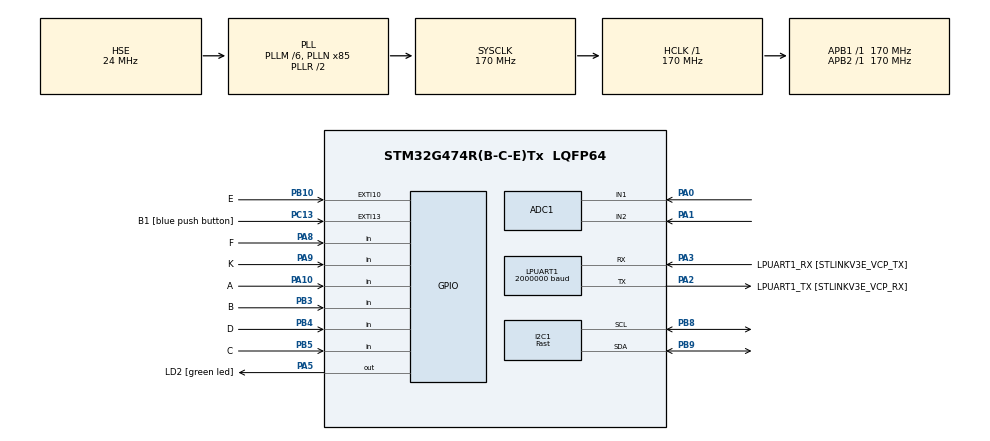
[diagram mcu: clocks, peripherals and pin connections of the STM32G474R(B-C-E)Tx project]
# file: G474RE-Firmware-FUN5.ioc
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ADC1.Channel-0\#ChannelRegularConversion=ADC_CHANNEL_1
ADC1.Channel-1\#ChannelRegularConversion=ADC_CHANNEL_2
ADC1.ContinuousConvMode=ENABLE
ADC1.DMAContinuousRequests=ENABLE
ADC1.NbrOfConversion=2
ADC1.NbrOfConversionFlag=1
ADC1.OffsetNumber-0\#ChannelRegularConversion=ADC_OFFSET_NONE
ADC1.OffsetNumber-1\#ChannelRegularConversion=ADC_OFFSET_NONE
ADC1.Rank-0\#ChannelRegularConversion=1
ADC1.Rank-1\#ChannelRegularConversion=2
ADC1.SamplingTime-0\#ChannelRegularConversion=ADC_SAMPLETIME_640CYCLES_5
ADC1.SamplingTime-1\#ChannelRegularConversion=ADC_SAMPLETIME_640CYCLES_5
ADC1.master=1
Dma.ADC1.2.Direction=DMA_PERIPH_TO_MEMORY
Dma.ADC1.2.EventEnable=DISABLE
Dma.ADC1.2.Instance=DMA1_Channel3
Dma.ADC1.2.MemDataAlignment=DMA_MDATAALIGN_HALFWORD
Dma.ADC1.2.MemInc=DMA_MINC_ENABLE
Dma.ADC1.2.Mode=DMA_CIRCULAR
Dma.ADC1.2.PeriphDataAlignment=DMA_PDATAALIGN_HALFWORD
Dma.ADC1.2.PeriphInc=DMA_PINC_DISABLE
Dma.ADC1.2.Polarity=HAL_DMAMUX_REQ_GEN_RISING
Dma.ADC1.2.Priority=DMA_PRIORITY_LOW
Dma.ADC1.2.RequestNumber=1
Dma.ADC1.2.SignalID=NONE
Dma.ADC1.2.SyncEnable=DISABLE
Dma.ADC1.2.SyncPolarity=HAL_DMAMUX_SYNC_NO_EVENT
Dma.ADC1.2.SyncRequestNumber=1
Dma.ADC1.2.SyncSignalID=NONE
Dma.LPUART1_RX.0.Direction=DMA_PERIPH_TO_MEMORY
Dma.LPUART1_RX.0.EventEnable=DISABLE
Dma.LPUART1_RX.0.Instance=DMA1_Channel1
Dma.LPUART1_RX.0.MemDataAlignment=DMA_MDATAALIGN_BYTE
Dma.LPUART1_RX.0.MemInc=DMA_MINC_ENABLE
Dma.LPUART1_RX.0.Mode=DMA_CIRCULAR
Dma.LPUART1_RX.0.PeriphDataAlignment=DMA_PDATAALIGN_BYTE
Dma.LPUART1_RX.0.PeriphInc=DMA_PINC_DISABLE
Dma.LPUART1_RX.0.Polarity=HAL_DMAMUX_REQ_GEN_RISING
Dma.LPUART1_RX.0.Priority=DMA_PRIORITY_VERY_HIGH
Dma.LPUART1_RX.0.RequestNumber=1
Dma.LPUART1_RX.0.SignalID=NONE
Dma.LPUART1_RX.0.SyncEnable=DISABLE
Dma.LPUART1_RX.0.SyncPolarity=HAL_DMAMUX_SYNC_NO_EVENT
Dma.LPUART1_RX.0.SyncRequestNumber=1
Dma.LPUART1_RX.0.SyncSignalID=NONE
Dma.LPUART1_TX.1.Direction=DMA_MEMORY_TO_PERIPH
Dma.LPUART1_TX.1.EventEnable=DISABLE
Dma.LPUART1_TX.1.Instance=DMA1_Channel2
Dma.LPUART1_TX.1.MemDataAlignment=DMA_MDATAALIGN_BYTE
Dma.LPUART1_TX.1.MemInc=DMA_MINC_ENABLE
Dma.LPUART1_TX.1.Mode=DMA_NORMAL
Dma.LPUART1_TX.1.PeriphDataAlignment=DMA_PDATAALIGN_BYTE
Dma.LPUART1_TX.1.PeriphInc=DMA_PINC_DISABLE
Dma.LPUART1_TX.1.Polarity=HAL_DMAMUX_REQ_GEN_RISING
Dma.LPUART1_TX.1.Priority=DMA_PRIORITY_VERY_HIGH
Dma.LPUART1_TX.1.RequestNumber=1
Dma.LPUART1_TX.1.SignalID=NONE
Dma.LPUART1_TX.1.SyncEnable=DISABLE
Dma.LPUART1_TX.1.SyncPolarity=HAL_DMAMUX_SYNC_NO_EVENT
Dma.LPUART1_TX.1.SyncRequestNumber=1
Dma.LPUART1_TX.1.SyncSignalID=NONE
Dma.Request0=LPUART1_RX
Dma.Request1=LPUART1_TX
Dma.Request2=ADC1
FREERTOS.Tasks01=defaultTask,24,3000,StartDefaultTask,Default,NULL,Static,defaultTaskBuffer,defaultTaskControlBlock
FREERTOS.configENABLE_FPU=1
I2C1.I2C_Speed_Mode=I2C_Fast
I2C1.Timing=0x40621236
IWDG.Reload=2499
LPUART1.BaudRate=2000000
Mcu.Family=STM32G4
Mcu.Name=STM32G474R(B-C-E)Tx
Mcu.Package=LQFP64
NVIC.ADC1_2_IRQn=true\:5\:0\:false\:false\:true\:true\:true\:true\:true
NVIC.DMA1_Channel1_IRQn=true\:5\:0\:false\:false\:true\:true\:false\:true\:true
NVIC.DMA1_Channel2_IRQn=true\:5\:0\:false\:false\:true\:true\:false\:true\:true
NVIC.DMA1_Channel3_IRQn=true\:5\:0\:false\:false\:true\:true\:false\:true\:true
NVIC.EXTI15_10_IRQn=true\:5\:0\:false\:false\:true\:true\:true\:true\:true
NVIC.LPUART1_IRQn=true\:5\:0\:false\:false\:true\:true\:true\:true\:true
NVIC.PriorityGroup=NVIC_PRIORITYGROUP_4
NVIC.TIM1_UP_TIM16_IRQn=true\:15\:0\:false\:false\:true\:false\:false\:true\:true
NVIC.TimeBase=TIM1_UP_TIM16_IRQn
NVIC.TimeBaseIP=TIM1
PA0.Mode=IN1-Single-Ended
PA0.Signal=ADC1_IN1
PA1.Mode=IN2-Single-Ended
PA1.Signal=ADC1_IN2
PA10.GPIO_Label=A
PA10.Signal=GPIO_Input
PA13.GPIO_Label=T_SWDIO
PA13.Signal=SYS_JTMS-SWDIO
PA14.GPIO_Label=T_SWCLK
PA14.Signal=SYS_JTCK-SWCLK
PA2.GPIO_Label=LPUART1_TX [STLINKV3E_VCP_RX]
PA2.Mode=Asynchronous
PA2.Signal=LPUART1_TX
PA3.GPIO_Label=LPUART1_RX [STLINKV3E_VCP_TX]
PA3.Mode=Asynchronous
PA3.Signal=LPUART1_RX
PA5.GPIO_Label=LD2 [green led]
PA5.GPIO_Speed=GPIO_SPEED_FREQ_LOW
PA5.Signal=GPIO_Output
PA8.GPIO_Label=F
PA8.Signal=GPIO_Input
PA9.GPIO_Label=K
PA9.Signal=GPIO_Input
PB10.GPIO_Label=E
PB10.Signal=GPXTI10
PB3.GPIO_Label=B
PB3.Signal=GPIO_Input
PB4.GPIO_Label=D
PB4.Signal=GPIO_Input
PB5.GPIO_Label=C
PB5.Signal=GPIO_Input
PB8-BOOT0.Mode=I2C
PB8-BOOT0.Signal=I2C1_SCL
PB9.Mode=I2C
PB9.Signal=I2C1_SDA
PC13.GPIO_Label=B1 [blue push button]
PC13.Signal=GPXTI13
PC14-OSC32_IN.GPIO_Label=RCC_OSC32_IN
PC14-OSC32_IN.Signal=RCC_OSC32_IN
PC15-OSC32_OUT.GPIO_Label=RCC_OSC32_OUT
PC15-OSC32_OUT.Signal=RCC_OSC32_OUT
PF0-OSC_IN.GPIO_Label=RCC_OSC_IN
PF0-OSC_IN.Mode=HSE-External-Oscillator
PF0-OSC_IN.Signal=RCC_OSC_IN
PF1-OSC_OUT.GPIO_Label=RCC_OSC_OUT
PF1-OSC_OUT.Mode=HSE-External-Oscillator
PF1-OSC_OUT.Signal=RCC_OSC_OUT
ProjectManager.HeapSize=0x200
ProjectManager.StackSize=0x400
ProjectManager.TargetToolchain=STM32CubeIDE
RCC.ADC12Freq_Value=170000000
RCC.ADC345Freq_Value=170000000
RCC.AHBFreq_Value=170000000
RCC.APB1Freq_Value=170000000
RCC.APB1TimFreq_Value=170000000
RCC.APB2Freq_Value=170000000
RCC.APB2TimFreq_Value=170000000
RCC.CortexFreq_Value=170000000
RCC.EXTERNAL_CLOCK_VALUE=12288000
RCC.HCLKFreq_Value=170000000
RCC.HSE_VALUE=24000000
RCC.HSI48_VALUE=48000000
RCC.HSI_VALUE=16000000
RCC.LSE_VALUE=32768
RCC.PLLM=RCC_PLLM_DIV6
RCC.PLLN=85
RCC.PLLSourceVirtual=RCC_PLLSOURCE_HSE
RCC.RTCClockSelection=RCC_RTCCLKSOURCE_LSE
RCC.SYSCLKFreq_VALUE=170000000
RCC.SYSCLKSource=RCC_SYSCLKSOURCE_PLLCLK
RCC.USBFreq_Value=170000000
RCC.VCOOutputFreq_Value=340000000
VP_FREERTOS_VS_CMSIS_V2.Mode=CMSIS_V2
VP_IWDG_VS_IWDG.Mode=IWDG_Activate
VP_SYS_VS_DBSignals.Mode=DisableDeadBatterySignals
VP_SYS_VS_tim1.Mode=TIM1
board=NUCLEO-G474RE

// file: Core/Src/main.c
/* USER CODE BEGIN Header */
/**
  ******************************************************************************
  * @file           : main.c
  * @brief          : Main program body
  ******************************************************************************
  * @attention
  *
  * Copyright (c) 2024 STMicroelectronics.
  * All rights reserved.
  *
  * This software is licensed under terms that can be found in the LICENSE file
  * in the root directory of this software component.
  * If no LICENSE file comes with this software, it is provided AS-IS.
  *
  ******************************************************************************
  */
/* USER CODE END Header */
#include "main.h"
#include "cmsis_os.h"
#include "adc.h"
#include "dma.h"
#include "i2c.h"
#include "iwdg.h"
#include "usart.h"
#include "gpio.h"

void SystemClock_Config(void);
void MX_FREERTOS_Init(void);

int main(void)
{

  /* MCU Configuration--------------------------------------------------------*/

  /* Reset of all peripherals, Initializes the Flash interface and the Systick. */
  HAL_Init();

  /* Configure the system clock */
  SystemClock_Config();

  /* Initialize all configured peripherals */
  MX_GPIO_Init();
  MX_DMA_Init();
  MX_I2C1_Init();
  MX_LPUART1_UART_Init();
  MX_IWDG_Init();
  MX_ADC1_Init();

  /* Init scheduler */
  osKernelInitialize();

  /* Call init function for freertos objects (in cmsis_os2.c) */
  MX_FREERTOS_Init();

  /* Start scheduler */
  osKernelStart();

  /* We should never get here as control is now taken by the scheduler */

  /* Infinite loop */
  while (1)
  {

  }
}

void SystemClock_Config(void)
{
  RCC_OscInitTypeDef RCC_OscInitStruct = {0};
  RCC_ClkInitTypeDef RCC_ClkInitStruct = {0};

  /** Configure the main internal regulator output voltage
  */
  HAL_PWREx_ControlVoltageScaling(PWR_REGULATOR_VOLTAGE_SCALE1_BOOST);

  /** Initializes the RCC Oscillators according to the specified parameters
  * in the RCC_OscInitTypeDef structure.
  */
  RCC_OscInitStruct.OscillatorType = RCC_OSCILLATORTYPE_LSI|RCC_OSCILLATORTYPE_HSE;
  RCC_OscInitStruct.HSEState = RCC_HSE_ON;
  RCC_OscInitStruct.LSIState = RCC_LSI_ON;
  RCC_OscInitStruct.PLL.PLLState = RCC_PLL_ON;
  RCC_OscInitStruct.PLL.PLLSource = RCC_PLLSOURCE_HSE;
  RCC_OscInitStruct.PLL.PLLM = RCC_PLLM_DIV6;
  RCC_OscInitStruct.PLL.PLLN = 85;
  RCC_OscInitStruct.PLL.PLLP = RCC_PLLP_DIV2;
  RCC_OscInitStruct.PLL.PLLQ = RCC_PLLQ_DIV2;
  RCC_OscInitStruct.PLL.PLLR = RCC_PLLR_DIV2;
  if (HAL_RCC_OscConfig(&RCC_OscInitStruct) != HAL_OK)
  {
    Error_Handler();
  }

  /** Initializes the CPU, AHB and APB buses clocks
  */
  RCC_ClkInitStruct.ClockType = RCC_CLOCKTYPE_HCLK|RCC_CLOCKTYPE_SYSCLK
                              |RCC_CLOCKTYPE_PCLK1|RCC_CLOCKTYPE_PCLK2;
  RCC_ClkInitStruct.SYSCLKSource = RCC_SYSCLKSOURCE_PLLCLK;
  RCC_ClkInitStruct.AHBCLKDivider = RCC_SYSCLK_DIV1;
  RCC_ClkInitStruct.APB1CLKDivider = RCC_HCLK_DIV1;
  RCC_ClkInitStruct.APB2CLKDivider = RCC_HCLK_DIV1;

  if (HAL_RCC_ClockConfig(&RCC_ClkInitStruct, FLASH_LATENCY_4) != HAL_OK)
  {
    Error_Handler();
  }
}

void HAL_TIM_PeriodElapsedCallback(TIM_HandleTypeDef *htim)
{
  if (htim->Instance == TIM1) {
    HAL_IncTick();
  }
}

void Error_Handler(void)
{
  __disable_irq();
  while (1)
  {
  }
}

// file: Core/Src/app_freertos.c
/* USER CODE BEGIN Header */
/**
  ******************************************************************************
  * File Name          : app_freertos.c
  * Description        : Code for freertos applications
  ******************************************************************************
  * @attention
  *
  * Copyright (c) 2024 STMicroelectronics.
  * All rights reserved.
  *
  * This software is licensed under terms that can be found in the LICENSE file
  * in the root directory of this software component.
  * If no LICENSE file comes with this software, it is provided AS-IS.
  *
  ******************************************************************************
  */
/* USER CODE END Header */

#include "FreeRTOS.h"
#include "task.h"
#include "main.h"
#include "cmsis_os.h"

/* USER CODE BEGIN Includes */
#include "dma.h"
#include "i2c.h"
#include "iwdg.h"
#include "gpio.h"
#include "usart.h"
#include "adc.h"

#include <math.h>
#include <string.h>
#include <mpu6050.h>

#include <rcl/rcl.h>
#include <rcl/error_handling.h>
#include <rclc/rclc.h>
#include <rclc/executor.h>
#include <uxr/client/transport.h>
#include <rmw_microxrcedds_c/config.h>
#include <rmw_microros/rmw_microros.h>

#include <std_msgs/msg/int32.h>
#include <sensor_msgs/msg/imu.h>
#include <geometry_msgs/msg/twist.h>

#include <std_srvs/srv/trigger.h>
#include <std_srvs/srv/set_bool.h>
#include <robotic_interfaces/srv/keyboard.h>
#include <imu_interfaces/srv/imu_calibration.h>

#include <micro_ros_utilities/string_utilities.h>
/* USER CODE END Includes */

typedef StaticTask_t osStaticThreadDef_t;
/* USER CODE BEGIN PTD */
typedef struct {
	double x;
	double y;
	double z;
} offset3d_t;

typedef struct {
	double roll;
	double pitch;
	double yaw;
} rotation_t;

typedef struct {
	double Q_angle;
	double Q_bias;
	double R_measure;

	double angle;
	double bias;
	double rate;

	double P[2][2];
} KalmanFilter_t;

typedef struct {
	GPIO_PinState A;
	GPIO_PinState B;
	GPIO_PinState C;
	GPIO_PinState D;
	GPIO_PinState K;
} controller_t;
/* USER CODE END PTD */

/* USER CODE BEGIN PD */
#define GRAVITY 9.80665
#define DEG_TO_RAD M_PI / 180.0
#define RAD_TO_DEG 180.0 / M_PI

#define ADC_MAX 4095.0f
#define ADC_MIN 0.0f
#define OUTPUT_MAX 1.0f
#define OUTPUT_MIN -1.0f

#define ALPHA 0.50
#define LOW_PASS_BETA 0.9
#define HIGH_PASS_ALPHA 0.8
/* USER CODE END PD */

/* USER CODE BEGIN PM */
#define RCSOFTCHECK(fn) if (fn != RCL_RET_OK) {};
/* USER CODE END PM */

/* USER CODE BEGIN Variables */
rcl_node_t node;

rcl_publisher_t mpu6050_publisher;
sensor_msgs__msg__Imu mpu6050_msg;

rcl_publisher_t cmd_vel_publisher;
geometry_msgs__msg__Twist cmd_vel_msg;

rcl_publisher_t cmd_vell_publisher;
geometry_msgs__msg__Twist cmd_vell_msg;

rcl_service_t imu_calibration_server;
imu_interfaces__srv__ImuCalibration_Request imu_calibration_request;
imu_interfaces__srv__ImuCalibration_Response imu_calibration_response;

rcl_service_t imu_status_server;
std_srvs__srv__SetBool_Request imu_status_request;
std_srvs__srv__SetBool_Response imu_status_response;

rcl_client_t robot_controller_client;
robotic_interfaces__srv__Keyboard_Request keyboard_request;
robotic_interfaces__srv__Keyboard_Response keyboard_response;

rcl_client_t robot_controller_Ref_client;
robotic_interfaces__srv__Keyboard_Request ref_request;

rcl_client_t robot_controller_saved_client;
std_srvs__srv__Trigger_Request save_request;

MPU6050_t MPU6050;
uint16_t cc = 0;
uint16_t cs = 0;
uint16_t ct = 0;
uint16_t cq = 0;

offset3d_t accl_offset;
offset3d_t gyro_offset;

rotation_t rotation_gyro;
rotation_t rotation_accl;
rotation_t rotation_comp;
rotation_t rotation_kalm;
rotation_t rotation_real;

KalmanFilter_t kalmanX, kalmanY;
double prev_acc_roll = 0, prev_acc_pitch = 0;
double prev_gyroX = 0, prev_gyroY = 0;
bool is_calib = false;
bool on_calib = false;

uint16_t ADCBuffer[80]={0};
int ADC_Average[2] = {0};
int ADC_SumAPot[2] = {0};

controller_t joy;

int main_Mode = 0;
uint8_t state_keep_B = 0;
uint8_t B_count = 0;
uint8_t state_keep_D = 0;
uint8_t D_count = 0;
uint8_t wait = 0;
uint8_t auto_on = 0;
uint8_t state_keep_K = 0;
/* USER CODE END Variables */
/* Definitions for defaultTask */
osThreadId_t defaultTaskHandle;
uint32_t defaultTaskBuffer[ 3000 ];
osStaticThreadDef_t defaultTaskControlBlock;
const osThreadAttr_t defaultTask_attributes = {
  .name = "defaultTask",
  .stack_mem = &defaultTaskBuffer[0],
  .stack_size = sizeof(defaultTaskBuffer),
  .cb_mem = &defaultTaskControlBlock,
  .cb_size = sizeof(defaultTaskControlBlock),
  .priority = (osPriority_t) osPriorityNormal,
};

/* USER CODE BEGIN FunctionPrototypes */
bool cubemx_transport_open(struct uxrCustomTransport * transport);
bool cubemx_transport_close(struct uxrCustomTransport * transport);
size_t cubemx_transport_write(struct uxrCustomTransport* transport, const uint8_t * buf, size_t len, uint8_t * err);
size_t cubemx_transport_read(struct uxrCustomTransport* transport, uint8_t* buf, size_t len, int timeout, uint8_t* err);

void * microros_allocate(size_t size, void * state);
void microros_deallocate(void * pointer, void * state);
void * microros_reallocate(void * pointer, size_t size, void * state);
void * microros_zero_allocate(size_t number_of_elements, size_t size_of_element, void * state);

double lowPassFilter(float previousFiltered, float raw, float beta);
double highPassFilter(float currentFiltered, float raw, float lastRaw, float alpha);

void calculate_gyro_angles(double Ax, double Ay, double Az, double Gx, double Gy, double Gz, float DT);
void calculate_accl_angles(double Ax, double Ay, double Az, double Gx, double Gy, double Gz, float DT);
void calculate_comp_angles(double Ax, double Ay, double Az, double Gx, double Gy, double Gz, float DT);
void calculate_kalm_angles(double Ax, double Ay, double Az, double Gx, double Gy, double Gz, float DT);

void Kalman_Init(KalmanFilter_t* kf);
double Kalman_Angle(KalmanFilter_t* kf, double new_angle, double new_rate, float DT);

void ADC_Averaged();
void Read_Buttons();
float map_adc_to_output(int adc_value);

double lowPassFilter(float previousFiltered, float raw, float beta) {
    return beta * previousFiltered + (1.0 - beta) * raw;
}
double highPassFilter(float currentFiltered, float raw, float lastRaw, float alpha) {
    return alpha * (currentFiltered + raw - lastRaw);
}

void calculate_gyro_angles(double Ax, double Ay, double Az, double Gx, double Gy, double Gz, float DT) {

	rotation_gyro.roll += (Gx * RAD_TO_DEG) * DT;
	rotation_gyro.pitch += (Gy * RAD_TO_DEG) * DT;
	rotation_gyro.yaw += (Gz * RAD_TO_DEG) * DT;

    if (rotation_gyro.yaw > 180.0){
    	rotation_gyro.yaw -= 360.0;
    }
    else if (rotation_gyro.yaw < -180.0){
    	rotation_gyro.yaw += 360.0;
    }
}

void calculate_accl_angles(double Ax, double Ay, double Az, double Gx, double Gy, double Gz, float DT) {

    double roll_acc = atan2(Ay, sqrt(Ax * Ax + Az * Az)) * RAD_TO_DEG;
    double pitch_acc = atan2(-Ax, sqrt(Ay * Ay + Az * Az)) * RAD_TO_DEG;
    double yaw_acc = (Gz * RAD_TO_DEG) * DT;

    rotation_accl.roll = roll_acc;
    rotation_accl.pitch = pitch_acc;
    rotation_accl.yaw += yaw_acc;

    if (rotation_accl.yaw > 180.0){
    	rotation_accl.yaw -= 360.0;
    }
    else if (rotation_accl.yaw < -180.0){
    	rotation_accl.yaw += 360.0;
    }
}

void calculate_comp_angles(double Ax, double Ay, double Az, double Gx, double Gy, double Gz, float DT){
    double roll_acc = atan(Ay / sqrt(Ax * Ax + Az * Az)) * RAD_TO_DEG;
    double pitch_acc = atan2(-Ax, sqrt(Ay * Ay + Az * Az)) * RAD_TO_DEG;

    double roll_acc_fill = lowPassFilter(prev_acc_roll, roll_acc, LOW_PASS_BETA);
    double pitch_acc_fill = lowPassFilter(prev_acc_pitch, pitch_acc, LOW_PASS_BETA);

    prev_acc_roll = roll_acc_fill;
    prev_acc_pitch = pitch_acc_fill;

    double gyro_roll = rotation_comp.roll + Gx * DT;
    double gyro_pitch = rotation_comp.pitch + Gy * DT;

    double gyro_roll_fill = highPassFilter(rotation_comp.roll, gyro_roll, prev_gyroX, HIGH_PASS_ALPHA);
    double gyro_pitch_fill = highPassFilter(rotation_comp.pitch, gyro_pitch, prev_gyroY, HIGH_PASS_ALPHA);

    prev_gyroX = Gx;
    prev_gyroY = Gy;

    rotation_comp.roll = ALPHA * gyro_roll_fill + (1 - ALPHA) * roll_acc_fill;
    rotation_comp.pitch = ALPHA * gyro_pitch_fill + (1 - ALPHA) * pitch_acc_fill;
    rotation_comp.yaw += (Gz * RAD_TO_DEG) * DT;

    if (rotation_comp.yaw > 180.0){
    	rotation_comp.yaw -= 360.0;
    }
    else if (rotation_comp.yaw < -180.0){
    	rotation_comp.yaw += 360.0;
    }

}
void calculate_kalm_angles(double Ax, double Ay, double Az, double Gx, double Gy, double Gz, float DT) {

	double angleX = atan(Ay / sqrt(Ax * Ax + Az * Az)) * RAD_TO_DEG;
	double angleY = atan2(-Ax, sqrt(Ay * Ay + Az * Az)) * RAD_TO_DEG;

	double ratedX = Gx;
	double ratedY = Gy;

	rotation_kalm.roll = Kalman_Angle(&kalmanX, angleX, ratedX, DT);
	rotation_kalm.pitch = Kalman_Angle(&kalmanY, angleY, ratedY, DT);
	rotation_kalm.yaw += (Gz * RAD_TO_DEG) * DT;

    if (rotation_kalm.yaw > 180.0){
    	rotation_kalm.yaw -= 360.0;
    }
    else if (rotation_kalm.yaw < -180.0){
    	rotation_kalm.yaw += 360.0;
    }
}

void Kalman_Init(KalmanFilter_t* kf) {
    kf->Q_angle = 0.001f;
    kf->Q_bias  = 0.003f;
    kf->R_measure = 0.03f;

    kf->angle = 0.0f;
    kf->bias = 0.0f;

    kf->P[0][0] = 0.0f;
    kf->P[0][1] = 0.0f;
    kf->P[1][0] = 0.0f;
    kf->P[1][1] = 0.0f;
}

double Kalman_Angle(KalmanFilter_t* kf, double new_angle, double new_rate, float DT){

    kf->rate = new_rate - kf->bias;
    kf->angle += DT * kf->rate;

    kf->P[0][0] += DT * (DT * kf->P[1][1] - kf->P[0][1] - kf->P[1][0] + kf->Q_angle);
    kf->P[0][1] -= DT * kf->P[1][1];
    kf->P[1][0] -= DT * kf->P[1][1];
    kf->P[1][1] += kf->Q_bias * DT;

    double S = kf->P[0][0] + kf->R_measure;
    double K[2];
    K[0] = kf->P[0][0] / S;
    K[1] = kf->P[1][0] / S;

    double y = new_angle - kf->angle;
    kf->angle += K[0] * y;
    kf->bias += K[1] * y;

    double P00_temp = kf->P[0][0];
    double P01_temp = kf->P[0][1];

    kf->P[0][0] -= K[0] * P00_temp;
    kf->P[0][1] -= K[0] * P01_temp;
    kf->P[1][0] -= K[1] * P00_temp;
    kf->P[1][1] -= K[1] * P01_temp;

    return kf->angle;
}

float map_adc_to_output(int adc_value) {
	float mapped = ((adc_value - ADC_MIN) * (OUTPUT_MAX - OUTPUT_MIN) / (ADC_MAX - ADC_MIN)) + OUTPUT_MIN;
	float output = (fabs(mapped) < 0.03) ? 0.0 : mapped;
	return output;
}

void timer_callback(rcl_timer_t * timer, int64_t last_call_time)
{
	if (timer != NULL) {
		if (main_Mode == 1)
		{
			uint32_t i2cError = HAL_I2C_GetError(&hi2c1);
			if (i2cError == HAL_I2C_ERROR_NONE){
				if (is_calib || on_calib){
					MPU6050_Read_All(&hi2c1, &MPU6050);

					double Ax = (GRAVITY * MPU6050.Ax) - accl_offset.x;
					double Ay = (GRAVITY * MPU6050.Ay) - accl_offset.y;
					double Az = (GRAVITY * MPU6050.Az) - accl_offset.z;

					double Gx = (DEG_TO_RAD * MPU6050.Gx) - gyro_offset.x;
					double Gy = (DEG_TO_RAD * MPU6050.Gy) - gyro_offset.y;
					double Gz = (DEG_TO_RAD * MPU6050.Gz) - gyro_offset.z;

					mpu6050_msg.header.stamp.sec = rmw_uros_epoch_millis() / 1000;
					mpu6050_msg.header.stamp.nanosec = rmw_uros_epoch_nanos();

					mpu6050_msg.linear_acceleration.x = Ax;
					mpu6050_msg.linear_acceleration.y = Ay;
					mpu6050_msg.linear_acceleration.z = Az;

					mpu6050_msg.angular_velocity.x = Gx;
					mpu6050_msg.angular_velocity.y = Gy;
					mpu6050_msg.angular_velocity.z = Gz;

					rcl_ret_t ret = rcl_publish(&mpu6050_publisher, &mpu6050_msg, NULL);
					if (ret != RCL_RET_OK) printf("Error publishing (line %d)\n", __LINE__);

					rotation_real.roll = MPU6050.KalmanAngleX;
					rotation_real.pitch = MPU6050.KalmanAngleY;

					calculate_gyro_angles(Ax/GRAVITY, Ay/GRAVITY, Az/GRAVITY, Gx, Gy, Gz, 0.01);
					calculate_accl_angles(Ax/GRAVITY, Ay/GRAVITY, Az/GRAVITY, Gx, Gy, Gz, 0.01);
					calculate_comp_angles(Ax/GRAVITY, Ay/GRAVITY, Az/GRAVITY, Gx, Gy, Gz, 0.01);
					calculate_kalm_angles(Ax/GRAVITY, Ay/GRAVITY, Az/GRAVITY, Gx, Gy, Gz, 0.01);

					cmd_vel_msg.linear.x = rotation_comp.roll * DEG_TO_RAD;
					cmd_vel_msg.angular.z = -(rotation_comp.pitch * DEG_TO_RAD);

					rcl_ret_t rett = rcl_publish(&cmd_vel_publisher, &cmd_vel_msg, NULL);
					if (rett != RCL_RET_OK) printf("Error publishing (line %d)\n", __LINE__);

				}
			}
			else
			{
				static uint32_t timestamp = 0;
				if (timestamp <= HAL_GetTick()){
					timestamp = HAL_GetTick() + 1000;
					HAL_GPIO_TogglePin(LD2_GPIO_Port, LD2_Pin);
					HAL_I2C_DeInit(&hi2c1);
					HAL_I2C_Init(&hi2c1);
					MPU6050_Init(&hi2c1);
				}
			}
		}

		else if (main_Mode == 0)
		{
			if (joy.B == GPIO_PIN_RESET && state_keep_B == 0)
			{
				wait++;
				state_keep_B = 1;
				state_keep_K = 0;
			}

			if (joy.B == GPIO_PIN_SET && state_keep_B == 1 && B_count == 0 && wait > 0)
			{
				keyboard_request.mode.data = "TOB";

				int64_t sq_num;
				rcl_ret_t ret = rcl_send_request(&robot_controller_client, &keyboard_request, &sq_num);

				if (ret != RCL_RET_OK) cq++;

				B_count = 1;
				D_count = 0;
				state_keep_B = 0;
				state_keep_K = 0;
			}

			else if (joy.B == GPIO_PIN_SET && state_keep_B == 1 && B_count == 1 && wait >= 2)
			{
				keyboard_request.mode.data = "AUT";

				int64_t sq_num;
				rcl_ret_t ret = rcl_send_request(&robot_controller_client, &keyboard_request, &sq_num);

				if (ret != RCL_RET_OK) cq++;

				B_count = 0;
				state_keep_B = 0;
				state_keep_K = 0;
			}

			if (joy.D == GPIO_PIN_RESET)
			{
				wait++;
				state_keep_D  = 1;
				state_keep_K = 0;
			}

			if (joy.D == GPIO_PIN_SET && state_keep_D == 1 && B_count == 1 && D_count == 0 && wait > 2)
			{
				keyboard_request.mode.data = "TOE";

				int64_t sq_numI;
				rcl_ret_t ret = rcl_send_request(&robot_controller_client, &keyboard_request, &sq_numI);
				if (ret != RCL_RET_OK) cq++;

				int64_t sq_numII;
				rcl_ret_t rett = rcl_send_request(&robot_controller_Ref_client, &keyboard_request, &sq_numII);
				if (rett != RCL_RET_OK) cq++;

				D_count = 1;
				state_keep_D = 0;
				state_keep_K = 0;
			}

			else if (joy.D == GPIO_PIN_SET && state_keep_D == 1 && B_count == 1 && D_count == 1 && wait > 2)
			{
				keyboard_request.mode.data = "TOB";

				int64_t sq_numI;
				rcl_ret_t ret = rcl_send_request(&robot_controller_client, &keyboard_request, &sq_numI);
				if (ret != RCL_RET_OK) cq++;

				int64_t sq_numII;
				rcl_ret_t rett = rcl_send_request(&robot_controller_Ref_client, &keyboard_request, &sq_numII);
				if (rett != RCL_RET_OK) cq++;

				D_count = 0;
				state_keep_D = 0;
				state_keep_K = 0;
			}

			if (joy.K == GPIO_PIN_RESET)
			{
				wait++;
				state_keep_K  = 1;
			}

			if (joy.K == GPIO_PIN_SET && state_keep_K == 1 && wait > 2)
			{
				int64_t sq_numI;
				rcl_ret_t ret = rcl_send_request(&robot_controller_saved_client, &save_request, &sq_numI);
				if (ret != RCL_RET_OK) cq++;

				state_keep_K = 0;
			}

			ADC_Averaged();
			Read_Buttons();

			float zp = (joy.A == GPIO_PIN_SET) ? 0 : 0.2;
			float zm = (joy.C == GPIO_PIN_SET) ? 0 : -0.2;

			cmd_vel_msg.linear.x = (map_adc_to_output(ADC_Average[1])) * 0.2;
			cmd_vel_msg.linear.y = (map_adc_to_output(ADC_Average[0])) * 0.2;
			cmd_vel_msg.linear.z = zp + zm;

			rcl_ret_t rett = rcl_publish(&cmd_vel_publisher, &cmd_vel_msg, NULL);
			if (rett != RCL_RET_OK) printf("Error publishing (line %d)\n", __LINE__);
		}

		else if (main_Mode == 2)
		{
			uint32_t i2cError = HAL_I2C_GetError(&hi2c1);
			if (i2cError == HAL_I2C_ERROR_NONE){
				if (is_calib || on_calib){
					MPU6050_Read_All(&hi2c1, &MPU6050);

					double Ax = (GRAVITY * MPU6050.Ax) - accl_offset.x;
					double Ay = (GRAVITY * MPU6050.Ay) - accl_offset.y;
					double Az = (GRAVITY * MPU6050.Az) - accl_offset.z;

					double Gx = (DEG_TO_RAD * MPU6050.Gx) - gyro_offset.x;
					double Gy = (DEG_TO_RAD * MPU6050.Gy) - gyro_offset.y;
					double Gz = (DEG_TO_RAD * MPU6050.Gz) - gyro_offset.z;

					mpu6050_msg.header.stamp.sec = rmw_uros_epoch_millis() / 1000;
					mpu6050_msg.header.stamp.nanosec = rmw_uros_epoch_nanos();

					mpu6050_msg.linear_acceleration.x = Ax;
					mpu6050_msg.linear_acceleration.y = Ay;
					mpu6050_msg.linear_acceleration.z = Az;

					mpu6050_msg.angular_velocity.x = Gx;
					mpu6050_msg.angular_velocity.y = Gy;
					mpu6050_msg.angular_velocity.z = Gz;

					rotation_real.roll = MPU6050.KalmanAngleX;
					rotation_real.pitch = MPU6050.KalmanAngleY;

					calculate_gyro_angles(Ax/GRAVITY, Ay/GRAVITY, Az/GRAVITY, Gx, Gy, Gz, 0.01);
					calculate_accl_angles(Ax/GRAVITY, Ay/GRAVITY, Az/GRAVITY, Gx, Gy, Gz, 0.01);
					calculate_kalm_angles(Ax/GRAVITY, Ay/GRAVITY, Az/GRAVITY, Gx, Gy, Gz, 0.01);

					cmd_vel_msg.linear.x = rotation_kalm.roll * DEG_TO_RAD;
					cmd_vel_msg.angular.z = -(rotation_kalm.pitch * DEG_TO_RAD);

				}
			}
			else
			{
				static uint32_t timestamp = 0;
				if (timestamp <= HAL_GetTick()){
					timestamp = HAL_GetTick() + 1000;
					HAL_GPIO_TogglePin(LD2_GPIO_Port, LD2_Pin);
					HAL_I2C_DeInit(&hi2c1);
					HAL_I2C_Init(&hi2c1);
					MPU6050_Init(&hi2c1);
				}
			}

			ADC_Averaged();

			cmd_vell_msg.linear.x = (map_adc_to_output(ADC_Average[1])) * 0.2;
			cmd_vell_msg.linear.y = (map_adc_to_output(ADC_Average[0])) * 0.2;

//			rcl_ret_t ret = rcl_publish(&cmd_vel_publisher, &cmd_vel_msg, NULL);
//			if (ret != RCL_RET_OK) printf("Error publishing (line %d)\n", __LINE__);
//			rcl_ret_t rett = rcl_publish(&cmd_vel_II_publisher, &cmd_vel_II_msg, NULL);
//			if (rett != RCL_RET_OK) printf("Error publishing (line %d)\n", __LINE__);
		}

	    HAL_IWDG_Refresh(&hiwdg);
	    cc++;
	}
}

void imu_calib_service_callback(const void * request_msg, void * response_msg){
  // Cast messages to expected types
  imu_interfaces__srv__ImuCalibration_Request * req_in =
    (imu_interfaces__srv__ImuCalibration_Request *) request_msg;
  imu_interfaces__srv__ImuCalibration_Response * res_in =
    (imu_interfaces__srv__ImuCalibration_Response *) response_msg;

  size_t accl_size = sizeof(req_in->imu_calib.linear_acceleration_covariance);
  size_t gyro_size = sizeof(req_in->imu_calib.angular_velocity_covariance);
  memcpy(mpu6050_msg.linear_acceleration_covariance, req_in->imu_calib.linear_acceleration_covariance, accl_size);
  memcpy(mpu6050_msg.angular_velocity_covariance, req_in->imu_calib.angular_velocity_covariance, gyro_size);

  accl_offset.x = req_in->imu_calib.linear_acceleration.x;
  accl_offset.y = req_in->imu_calib.linear_acceleration.y;
  accl_offset.z = req_in->imu_calib.linear_acceleration.z;

  gyro_offset.x = req_in->imu_calib.angular_velocity.x;
  gyro_offset.y = req_in->imu_calib.angular_velocity.y;
  gyro_offset.z = req_in->imu_calib.angular_velocity.z;

  is_calib = true;
  res_in->success = true;

  HAL_GPIO_TogglePin(LD2_GPIO_Port, LD2_Pin);

}

void imu_status_service_callback(const void * request_msg, void * response_msg){
  // Cast messages to expected types
  std_srvs__srv__SetBool_Request * req_in =
    (std_srvs__srv__SetBool_Request *) request_msg;
  std_srvs__srv__SetBool_Response * res_in =
    (std_srvs__srv__SetBool_Response *) response_msg;

  if (req_in->data){
	  uint32_t i2cError = HAL_I2C_GetError(&hi2c1);
	  if (i2cError == HAL_I2C_ERROR_NONE) {
	      res_in->success = true;
	      res_in->message.data = "MPU6050 is connected.";
		  cs++;
	  }
	  else {
	      res_in->success = false;
	      res_in->message.data = "MPU6050 is not connect, Error with I2C interfaces.";
		  ct++;
	  }
  }
  else{
      res_in->success = false;
      res_in->message.data = "Request false.";
  }

}

void ADC_Averaged()
{
	for (int i = 0; i < 40; i++)
	{
		ADC_SumAPot[0] += ADCBuffer[2*i];
		ADC_SumAPot[1] += ADCBuffer[1+(2*i)];
	}

	for (int i = 0; i < 2; i++)
	{
		ADC_Average[i] = ADC_SumAPot[i] / 40;
		ADC_SumAPot[i] = 0;
	}
}

void Read_Buttons()
{
	joy.A = HAL_GPIO_ReadPin(A_GPIO_Port, A_Pin);
	joy.B = HAL_GPIO_ReadPin(B_GPIO_Port, B_Pin);
	joy.C = HAL_GPIO_ReadPin(C_GPIO_Port, C_Pin);
	joy.D = HAL_GPIO_ReadPin(D_GPIO_Port, D_Pin);
	joy.K = HAL_GPIO_ReadPin(K_GPIO_Port, K_Pin);
}

void keyboard_callback(const void * response_msg){
  // Cast response message to expected type
//  robotic_interfaces__srv__Keyboard_Response * msgin =
//    (robotic_interfaces__srv__Keyboard_Response *) response_msg;

}

void HAL_GPIO_EXTI_Callback(uint16_t GPIO_Pin)
{
	if (GPIO_Pin == GPIO_PIN_10)
	{
		if (main_Mode == 0) main_Mode = 1;
		else if (main_Mode == 1) main_Mode = 0;
//		else if (main_Mode == 2) main_Mode = 0;
	}
}

/* USER CODE END FunctionPrototypes */

void StartDefaultTask(void *argument);

void MX_FREERTOS_Init(void); /* (MISRA C 2004 rule 8.1) */

void MX_FREERTOS_Init(void) {
  /* USER CODE BEGIN Init */
  while (MPU6050_Init(&hi2c1) == 1);
  Kalman_Init(&kalmanX);
  Kalman_Init(&kalmanY);
  rotation_comp.roll = 0;
  rotation_comp.pitch = 0;
  rotation_comp.yaw = 0;
  HAL_ADCEx_Calibration_Start(&hadc1, ADC_SINGLE_ENDED);
  HAL_ADC_Start_DMA(&hadc1, ADCBuffer, 80);
  /* USER CODE END Init */

  /* Create the thread(s) */
  /* creation of defaultTask */
  defaultTaskHandle = osThreadNew(StartDefaultTask, NULL, &defaultTask_attributes);

}

void StartDefaultTask(void *argument)
{
  /* USER CODE BEGIN StartDefaultTask */
	// micro-ROS configuration

	rmw_uros_set_custom_transport(
		true,
		(void *) &hlpuart1,
		cubemx_transport_open,
		cubemx_transport_close,
		cubemx_transport_write,
		cubemx_transport_read);

	rcl_allocator_t freeRTOS_allocator = rcutils_get_zero_initialized_allocator();
	freeRTOS_allocator.allocate = microros_allocate;
	freeRTOS_allocator.deallocate = microros_deallocate;
	freeRTOS_allocator.reallocate = microros_reallocate;
	freeRTOS_allocator.zero_allocate =  microros_zero_allocate;

	if (!rcutils_set_default_allocator(&freeRTOS_allocator)) {
	  printf("Error on default allocators (line %d)\n", __LINE__);
	}

	GPIO_PinState B1 = HAL_GPIO_ReadPin(B1_GPIO_Port, B1_Pin);

	// micro-ROS app
	rcl_timer_t mpu6050_timer;
	rclc_support_t support;
	rclc_executor_t executor;
	rcl_allocator_t allocator;
	rcl_init_options_t init_options;

	const unsigned int timer_period = RCL_MS_TO_NS(10);
	const int timeout_ms = 5000;
	int executor_num = 3;

	// Get message type support
	const rosidl_message_type_support_t * imu_type_support =
	  ROSIDL_GET_MSG_TYPE_SUPPORT(sensor_msgs, msg, Imu);

	const rosidl_message_type_support_t * cmd_type_support =
	  ROSIDL_GET_MSG_TYPE_SUPPORT(geometry_msgs, msg, Twist);

	const rosidl_service_type_support_t * imu_calib_type_support =
	  ROSIDL_GET_SRV_TYPE_SUPPORT(imu_interfaces, srv, ImuCalibration);

	const rosidl_service_type_support_t * imu_status_type_support =
	  ROSIDL_GET_SRV_TYPE_SUPPORT(std_srvs, srv, SetBool);

	const rosidl_service_type_support_t * keyboard_type_support =
	  ROSIDL_GET_SRV_TYPE_SUPPORT(robotic_interfaces, srv, Keyboard);

	const rosidl_service_type_support_t * trigger_type_support =
	  ROSIDL_GET_SRV_TYPE_SUPPORT(std_srvs, srv, Trigger);

	allocator = rcl_get_default_allocator();

	executor = rclc_executor_get_zero_initialized_executor();

	init_options = rcl_get_zero_initialized_init_options();

	RCSOFTCHECK(rcl_init_options_init(&init_options, allocator));
	RCSOFTCHECK(rcl_init_options_set_domain_id(&init_options, 69));

	//create support init_options
	rclc_support_init_with_options(&support, 0, NULL, &init_options, &allocator);

	//create timer
	rclc_timer_init_default(&mpu6050_timer, &support, timer_period, timer_callback);

	// create node
	rclc_node_init_default(&node, "G474RE_MPU6050_node", "", &support);

	// create publisher
	rclc_publisher_init_best_effort(&mpu6050_publisher, &node, imu_type_support, "mpu6050_publisher");
	rclc_publisher_init_default(&cmd_vel_publisher, &node, cmd_type_support, "cmd_vel");
//	rclc_publisher_init_default(&cmd_vell_publisher, &node, cmd_type_support, "cmd_vell");
	//create subscriber

	//create service server
	if (B1 == GPIO_PIN_RESET) {
		rclc_service_init_default(&imu_calibration_server, &node, imu_calib_type_support, "imu_calibration");
		executor_num++;
	}
	else{
		on_calib = true;
	}

	rclc_service_init_default(&imu_status_server, &node, imu_status_type_support, "imu/status");

	//create service client
	rclc_client_init_default(&robot_controller_client, &node, keyboard_type_support, "Mode");
	rclc_client_init_default(&robot_controller_Ref_client, &node, keyboard_type_support, "Ref");
	rclc_client_init_default(&robot_controller_saved_client, &node, trigger_type_support, "SavePath");

	//create executor
	rclc_executor_init(&executor, &support.context, executor_num, &allocator);

	rclc_executor_add_timer(&executor, &mpu6050_timer);
	if (B1 == GPIO_PIN_RESET) rclc_executor_add_service(&executor, &imu_calibration_server, &imu_calibration_request, &imu_calibration_response, imu_calib_service_callback);
	rclc_executor_add_service(&executor, &imu_status_server, &imu_status_request, &imu_status_response, imu_status_service_callback);

	rclc_executor_spin(&executor);

	rmw_uros_sync_session(timeout_ms);

	//create message
	mpu6050_msg.header.frame_id = micro_ros_string_utilities_init("imu_frame");

	for(;;)
	{
		osDelay(10);
	}
  /* USER CODE END StartDefaultTask */
}
